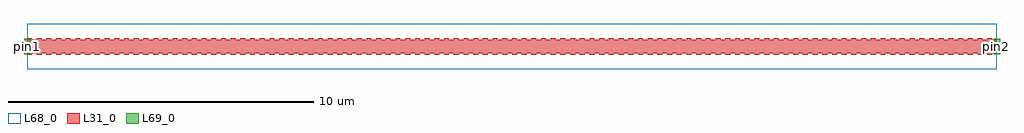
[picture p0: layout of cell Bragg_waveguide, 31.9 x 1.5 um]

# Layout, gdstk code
import gdstk
lib = gdstk.Library(unit=1e-6, precision=1e-09)
def R(c, l, rs):  # rectangles x0, y0, x1, y1
    for r in rs: c.add(gdstk.rectangle(r[:2], r[2:], *l))
def A(c, l, x, y, w, h, nx, ny, dx, dy):  # array of equal rectangles
    R(c, l, [(x+i*dx, y+j*dy, x+i*dx+w, y+j*dy+h) for i in range(nx) for j in range(ny)])
L31_0 = (31, 0)
L68_0 = (68, 0)
L69_0 = (69, 0)

bragg_waveguide = lib.new_cell('Bragg_waveguide')
A(bragg_waveguide, L31_0, 0, -0.275, 0.159, 0.275, 100, 2, 0.317, 0.275)
A(bragg_waveguide, L31_0, 0.159, -0.225, 0.158, 0.225, 100, 2, 0.317, 0.225)
R(bragg_waveguide, L68_0, [(0,-0.75,31.7,0.75)])
bragg_waveguide.add(gdstk.FlexPath([(-0.1,0),(0.1,0)], 0.5, ends="flush", simple_path=True, layer=69, datatype=0))  # L69_0
bragg_waveguide.add(gdstk.FlexPath([(31.6,0),(31.8,0)], 0.5, ends="flush", simple_path=True, layer=69, datatype=0))  # L69_0
bragg_waveguide.add(gdstk.Label('pin1', (0,0), layer=69, texttype=0))
bragg_waveguide.add(gdstk.Label('pin2', (31.7,0), layer=69, texttype=0))
bragg_waveguide.add(gdstk.Label('Lumerical_INTERCONNECT_library=Design kits/ebeam_v1.2', (0,0), layer=68, texttype=0))
bragg_waveguide.add(gdstk.Label('Lumerical_INTERCONNECT_component=ebeam_bragg_te1550', (3.17,0), layer=68, texttype=0))
bragg_waveguide.add(gdstk.Label('Spice_param:number_of_periods=100 grating_period=0.317u corrugation_width=0.050u misalignment=0.000u', (3.522,0), layer=68, texttype=0))

lib.write_gds('Bragg_waveguide.gds')
